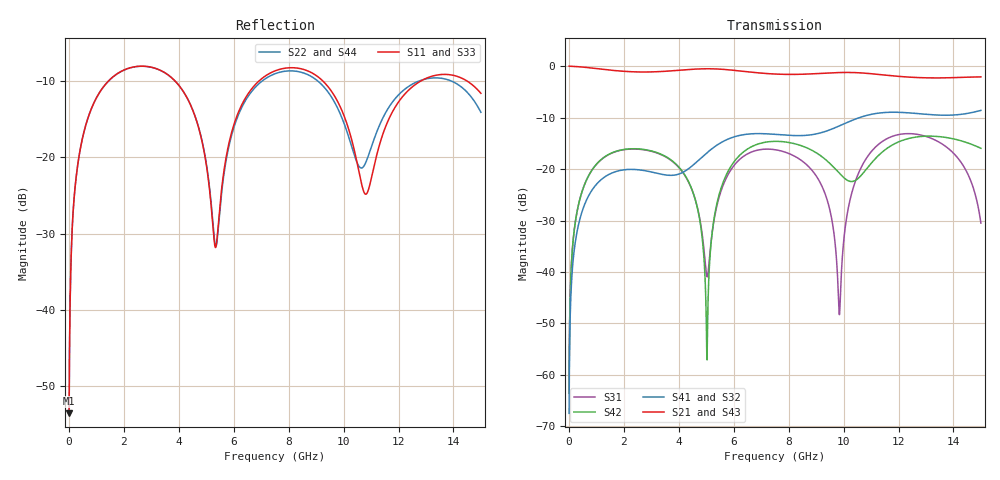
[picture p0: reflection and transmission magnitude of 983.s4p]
! Created with skrf 1.8.0 (http://scikit-rf.org).
# GHz S RI R 50.0
!freq ReS11 ImS11 ReS12 ImS12 ReS13 ImS13
! ReS14 ImS14
! ReS21 ImS21 ReS22 ImS22 ReS23 ImS23
! ReS24 ImS24
! ReS31 ImS31 ReS32 ImS32 ReS33 ImS33
! ReS34 ImS34
! ReS41 ImS41 ReS42 ImS42 ReS43 ImS43
! ReS44 ImS44
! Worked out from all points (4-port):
!   2499 points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, 5 MHz to 15 GHz, reference 50 ohm
!   strongest paths, dB at 5 MHz, 3.476 GHz, 7.19 GHz, 11.1 GHz, 15 GHz:
!     S21: 0.0, -1.0, -1.4, -1.5, -2.1
!     S43: 0.0, -1.0, -1.5, -1.5, -2.1
!     S41: -67.5, -21.1, -13.2, -9.3, -8.6
!     S32: -67.5, -21.1, -13.2, -9.3, -8.6
!     S42: -63.5, -17.4, -14.8, -18.3, -16.0
!     S31: -63.5, -17.5, -16.1, -16.1, -30.5
!   lowest |S11| = -53.5 dB at 5 MHz (marker M1), VSWR 1.00, Z = 50.2 + j0.128 ohm
!   |S11| at or under -10 dB: start of sweep to 1.451 GHz; 3.851 GHz to 6.933 GHz (3.082 GHz wide, 57.2 % of centre); 9.232 GHz to 12.83 GHz (3.602 GHz wide, 32.6 % of centre) (the widest 3 of 4)
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0.005  0.00168 0.00128  0.9983 -0.00327  8.43e-05 0.000662  -8.19e-05 -0.000416
       0.9983 -0.00327  0.00168 0.00128  -8.19e-05 -0.000416  8.43e-05 0.000662
       8.43e-05 0.000662  -8.19e-05 -0.000416  0.00168 0.00128  0.9983 -0.00327
       -8.19e-05 -0.000416  8.43e-05 0.000662  0.9983 -0.00327  0.00168 0.00128
1.675698  0.3013 0.1635  0.4783 -0.7676  0.1372 0.0524  -0.0938 0.00578
          0.4783 -0.7676  0.3008 0.164  -0.0937 0.0057  0.139 0.0496
          0.1372 0.0524  -0.0937 0.0057  0.3013 0.1634  0.4784 -0.7676
          -0.0938 0.00578  0.139 0.0496  0.4784 -0.7676  0.3006 0.164
5.020842  0.039 -0.075  -0.9077 -0.2521  -0.00886 -0.00193  -0.0334 0.1397
          -0.9077 -0.2521  0.0401 -0.0763  -0.0345 0.1394  0.00133 -0.000523
          -0.00886 -0.00193  -0.0345 0.1394  0.0376 -0.0739  -0.9079 -0.2519
          -0.0334 0.1397  0.00133 -0.000523  -0.9079 -0.2519  0.0407 -0.0746
6.296373  0.1481 0.1634  -0.7782 0.437  0.0945 0.0882  0.1337 0.1674
          -0.7782 0.437  0.141 0.1585  0.1324 0.1684  0.1242 0.0698
          0.0945 0.0882  0.1324 0.1684  0.1478 0.1656  -0.7779 0.4368
          0.1337 0.1674  0.1242 0.0698  -0.7779 0.4368  0.1428 0.1591
9.847853  0.147 -0.1623  0.6721 0.546  -0.00365 -0.00122  0.1589 -0.2091
          0.6721 0.546  0.1528 -0.1248  0.1617 -0.2069  -0.0648 -0.0637
          -0.00365 -0.00122  0.1617 -0.2069  0.1483 -0.1624  0.6706 0.5475
          0.1589 -0.2091  -0.0648 -0.0637  0.6706 0.5475  0.1539 -0.1252
10.71071  0.0561 -0.0245  0.8463 0.1288  0.0276 0.1092  0.0405 -0.3218
          0.8463 0.1288  0.0857 0.00743  0.0449 -0.3212  -0.0411 0.0814
          0.0276 0.1092  0.0449 -0.3212  0.0561 -0.0248  0.846 0.1314
          0.0405 -0.3218  -0.0411 0.0814  0.846 0.1314  0.0864 0.00616
15  0.2162 -0.147  -0.4882 -0.6157  0.0169 -0.0246  -0.2785 0.2454
    -0.4882 -0.6157  0.1662 -0.1047  -0.2839 0.2387  -0.0814 -0.1368
    0.0169 -0.0246  -0.2839 0.2387  0.216 -0.1487  -0.4834 -0.6194
    -0.2785 0.2454  -0.0814 -0.1368  -0.4834 -0.6194  0.171 -0.1008
